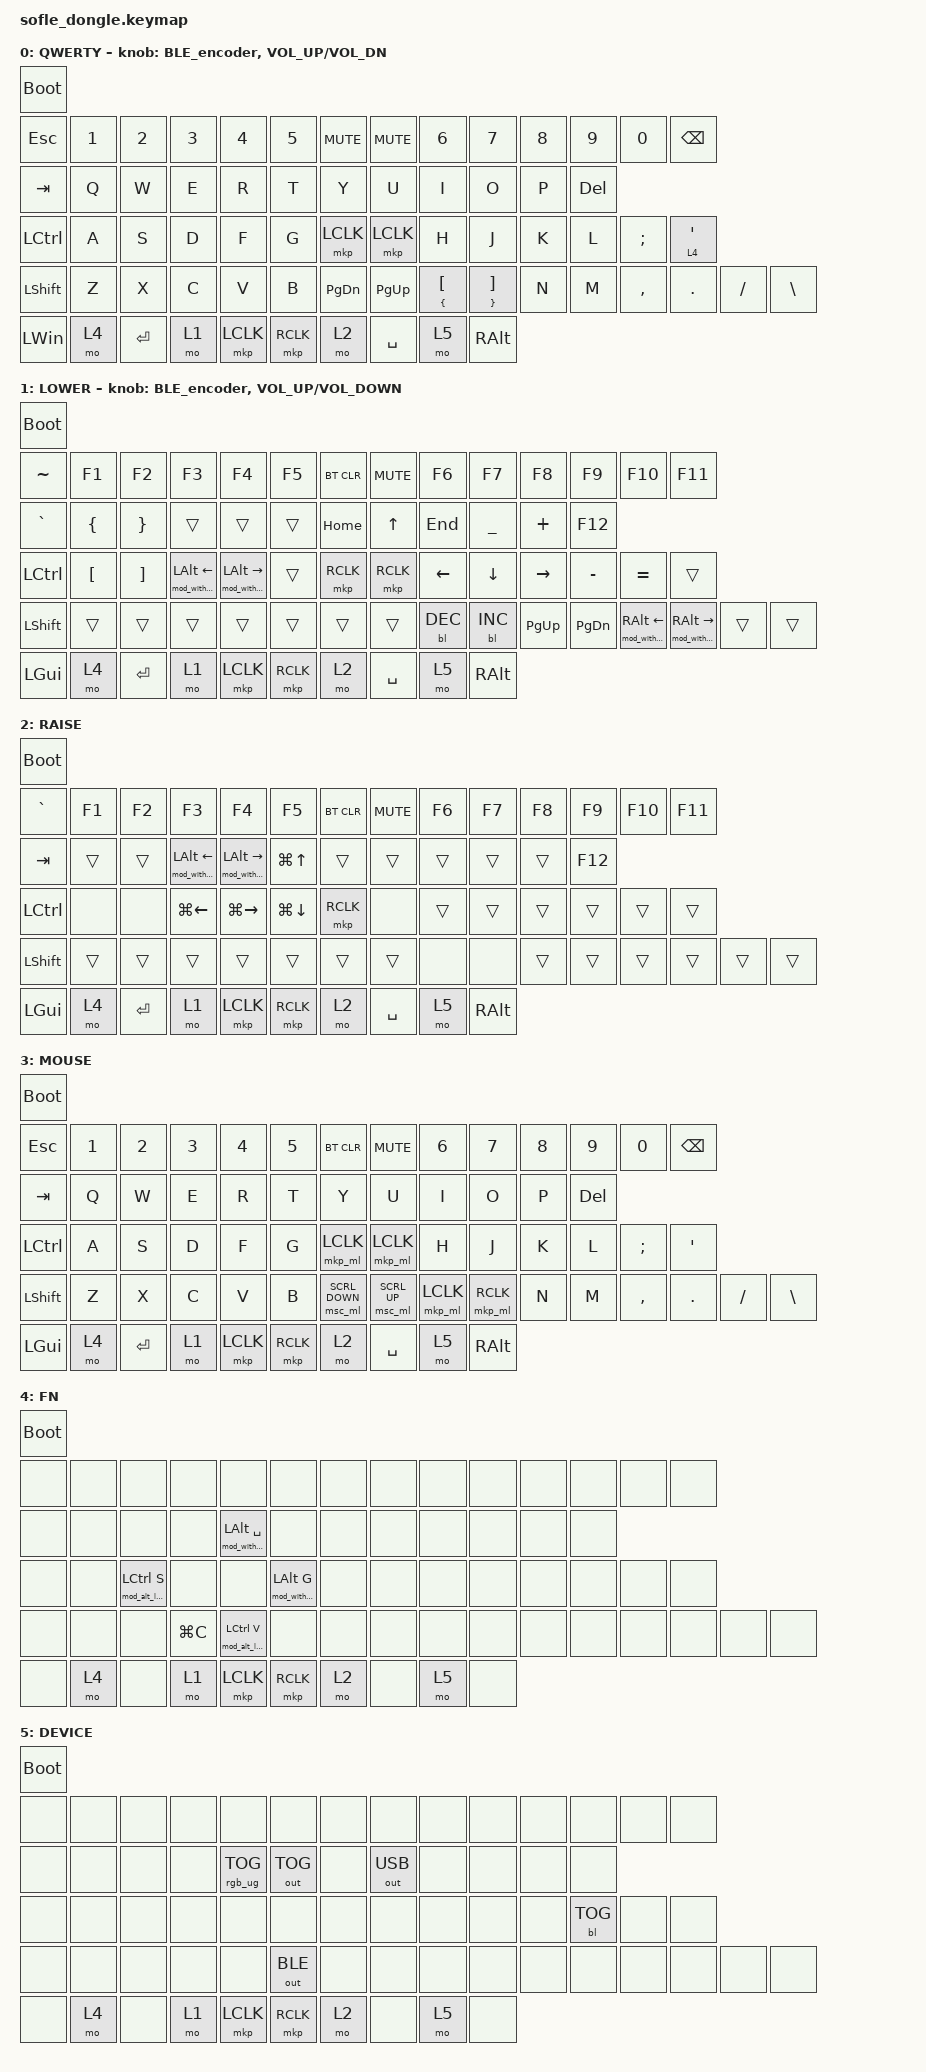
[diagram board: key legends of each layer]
/*
 * Copyright (c) 2025 ZitaoTech
 *
 * SPDX-License-Identifier: MIT
 */

#include <dt-bindings/zmk/behaviors.h>
#include <zephyr/dt-bindings/input/input-event-codes.h>
#include <dt-bindings/zmk/mouse.h>
#include <behaviors.dtsi>
#include <dt-bindings/zmk/backlight.h>
#include <dt-bindings/zmk/bt.h>
#include <dt-bindings/zmk/keys.h>
#include <dt-bindings/zmk/outputs.h>
#include <dt-bindings/zmk/pointing.h>
#include <dt-bindings/zmk/rgb.h>

#define FUNC 1
#define RES 2
#define BOT bootloader

/ {
    input_processors {
        zip_temp_layer: zip_temp_layer {
            compatible = "zmk,input-processor-temp-layer";
            #input-processor-cells = <2>;
        };

        trackpad_mode: trackpad_mode {
            compatible = "zmk,input-processor-trackpad-mode";
            #input-processor-cells = <0>;
        };

        trackpad_scroll_scaler: trackpad_scroll_scaler {
            compatible = "zmk,input-processor-scaler";
            #input-processor-cells = <2>;
            type = <INPUT_EV_REL>;
            codes = <INPUT_REL_WHEEL INPUT_REL_HWHEEL>;
            track-remainders;
        };

        ip_behaviors0: ip_behaviors0 {
            compatible = "zmk,input-processor-behaviors";
            #input-processor-cells = <0>;
            type = <INPUT_EV_KEY>;
            codes = <INPUT_BTN_0>;
            bindings = <&kp RIGHT>;
        };

        ip_behaviors1: ip_behaviors1 {
            compatible = "zmk,input-processor-behaviors";
            #input-processor-cells = <0>;
            type = <INPUT_EV_KEY>;
            codes = <INPUT_BTN_1>;
            bindings = <&kp LEFT>;
        };

        ip_behaviors2: ip_behaviors2 {
            compatible = "zmk,input-processor-behaviors";
            #input-processor-cells = <0>;
            type = <INPUT_EV_KEY>;
            codes = <INPUT_BTN_2>;
            bindings = <&kp DOWN>;
        };

        ip_behaviors3: ip_behaviors3 {
            compatible = "zmk,input-processor-behaviors";
            #input-processor-cells = <0>;
            type = <INPUT_EV_KEY>;
            codes = <INPUT_BTN_3>;
            bindings = <&kp UP>;
        };
    };
};

/ {
    behaviors {
        mkp_ml: mouse_key_press_ml {
            compatible = "zmk,behavior-mouse-key-press";
            #binding-cells = <1>;
            display-name = "Mouse Key Press (Mouse Layer)";
        };

        msc_ml: mouse_scroll_ml {
            compatible = "zmk,behavior-input-two-axis";
            #binding-cells = <1>;
            display-name = "Mouse Scroll (Mouse Layer)";
            x-input-code = <INPUT_REL_HWHEEL>;
            y-input-code = <INPUT_REL_WHEEL>;
            time-to-max-speed-ms = <300>;
            acceleration-exponent = <0>;
        };
    };

    mkp_ml_listener: mkp_ml_listener {
        compatible = "zmk,input-listener";
        device = <&mkp_ml>;
        input-processors = <&zip_temp_layer 3 600>;
    };

    msc_ml_listener: msc_ml_listener {
        compatible = "zmk,input-listener";
        device = <&msc_ml>;
        input-processors = <&zip_temp_layer 3 600>;
    };
};

/ {
    behaviors {
        td0: tap_dance_0 {
            compatible = "zmk,behavior-tap-dance";
            #binding-cells = <0>;
            tapping-term-ms = <400>;
            bindings = <&mkp LCLK>, <&bt BT_CLR>;
        };
    };

    behaviors {
        hm: homerow_mods {
            compatible = "zmk,behavior-hold-tap";
            #binding-cells = <2>;
            tapping-term-ms = <500>;
            bindings = <&kp &kp>;
        };
    };

    behaviors {
        sp_sc: behavior_spacescroll {
            compatible = "zmk,behavior-hold-tap";
            #binding-cells = <2>;
            flavor = "tap-preferred";     /* 单击优先 */
            tapping-term-ms = <200>;       /* 长按阈值 */
            bindings = <&none &kp>;        /* hold=none, tap=space */
        };
    };

    behaviors {
        BLE_encoder: BLE_encoder {
            compatible = "zmk,behavior-sensor-rotate";
            #sensor-binding-cells = <0>;
            bindings = <&bt BT_NXT>, <&bt BT_PRV>;
        };
    };

    macros {
        mod_with_latency: mod_with_latency {
            compatible = "zmk,behavior-macro-two-param";
            #binding-cells = <2>;
            wait-ms = <70>;
            tap-ms = <70>;
            label = "MOD_WITH_LATENCY";
            bindings =
                <&macro_param_1to1>,
                <&macro_press>,
                <&kp MACRO_PLACEHOLDER &macro_param_2to1>,
                <&macro_tap>,
                <&kp MACRO_PLACEHOLDER &macro_param_1to1>,
                <&macro_release>,
                <&kp MACRO_PLACEHOLDER>;
        };

        mod_alt_latency: mod_alt_latency {
            compatible = "zmk,behavior-macro-two-param";
            #binding-cells = <2>;
            wait-ms = <50>;
            tap-ms = <50>;
            label = "MOD_WITH_LATENCY";
            bindings =
                <&macro_param_1to1>,
                <&macro_press>,
                <&kp MACRO_PLACEHOLDER>,
                <&macro_press>,
                <&kp LEFT_ALT &macro_param_2to1>,
                <&macro_tap>,
                <&kp MACRO_PLACEHOLDER>,
                <&macro_release>,
                <&kp LEFT_ALT &macro_param_1to1>,
                <&macro_release>,
                <&kp MACRO_PLACEHOLDER>;
        };
    };

    keymap {
        compatible = "zmk,keymap";

        default_layer {
            display-name = "QWERTY";
            bindings = <
&bootloader
&kp ESC           &kp N1  &kp N2     &kp N3  &kp N4     &kp N5     &kp C_MUTE  &kp C_MUTE  &kp N6         &kp N7         &kp N8  &kp N9      &kp N0     &kp BSPC
&kp TAB           &kp Q   &kp W      &kp E   &kp R      &kp T      &kp Y       &kp U       &kp I          &kp O          &kp P   &kp DELETE
&kp LEFT_CONTROL  &kp A   &kp S      &kp D   &kp F      &kp G      &mkp LCLK   &mkp LCLK   &kp H          &kp J          &kp K   &kp L       &kp SEMI   &lt 4 SINGLE_QUOTE
&kp LSHFT         &kp Z   &kp X      &kp C   &kp V      &kp B      &kp PG_DN   &kp PG_UP   &mt LBRC LBKT  &mt RBRC RBKT  &kp N   &kp M       &kp COMMA  &kp DOT             &kp FSLH  &kp BACKSLASH
&kp LEFT_WIN      &mo 4   &kp ENTER  &mo 1   &mkp LCLK  &mkp RCLK  &mo 2       &kp SPACE   &mo 5          &kp RIGHT_ALT
            >;

            sensor-bindings = <&BLE_encoder>, <&inc_dec_kp C_VOL_UP C_VOL_DN>;
        };

        lower_layer {
            display-name = "LOWER";
            bindings = <
&bootloader
&kp TILDE         &kp F1            &kp F2             &kp F3                           &kp F4                            &kp F5     &bt BT_CLR  &kp C_MUTE  &kp F6      &kp F7         &kp F8       &kp F9         &kp F10                           &kp F11
&kp GRAVE         &kp LEFT_BRACE    &kp RIGHT_BRACE    &trans                           &trans                            &trans     &kp HOME    &kp UP      &kp END     &kp UNDER      &kp PLUS     &kp F12
&kp LEFT_CONTROL  &kp LEFT_BRACKET  &kp RIGHT_BRACKET  &mod_with_latency LEFT_ALT LEFT  &mod_with_latency LEFT_ALT RIGHT  &trans     &mkp RCLK   &mkp RCLK   &kp LEFT    &kp DOWN       &kp RIGHT    &kp MINUS      &kp EQUAL                         &trans
&kp LSHFT         &trans            &trans             &trans                           &trans                            &trans     &trans      &trans      &bl BL_DEC  &bl BL_INC     &kp PAGE_UP  &kp PAGE_DOWN  &mod_with_latency RIGHT_ALT LEFT  &mod_with_latency RIGHT_ALT RIGHT  &trans  &trans
&kp LEFT_GUI      &mo 4             &kp ENTER          &mo 1                            &mkp LCLK                         &mkp RCLK  &mo 2       &kp SPACE   &mo 5       &kp RIGHT_ALT
            >;

            sensor-bindings =
                <&BLE_encoder>,
                <&inc_dec_kp C_VOLUME_UP C_VOLUME_DOWN>;
        };

        raise_layer {
            display-name = "RAISE";
            bindings = <
&bootloader
&kp GRAVE         &kp F1  &kp F2     &kp F3                           &kp F4                            &kp F5        &bt BT_CLR  &kp C_MUTE  &kp F6  &kp F7         &kp F8  &kp F9   &kp F10  &kp F11
&kp TAB           &trans  &trans     &mod_with_latency LEFT_ALT LEFT  &mod_with_latency LEFT_ALT RIGHT  &kp LG(UP)    &trans      &trans      &trans  &trans         &trans  &kp F12
&kp LEFT_CONTROL  &none   &none      &kp LG(LEFT)                     &kp LG(RIGHT)                     &kp LG(DOWN)  &mkp RCLK   &none       &trans  &trans         &trans  &trans   &trans   &trans
&kp LSHFT         &trans  &trans     &trans                           &trans                            &trans        &trans      &trans      &none   &none          &trans  &trans   &trans   &trans   &trans  &trans
&kp LEFT_GUI      &mo 4   &kp ENTER  &mo 1                            &mkp LCLK                         &mkp RCLK     &mo 2       &kp SPACE   &mo 5   &kp RIGHT_ALT
            >;
        };

        mouse_layer {
            display-name = "MOUSE";
            bindings = <
&bootloader
&kp ESC           &kp N1  &kp N2     &kp N3  &kp N4     &kp N5     &bt BT_CLR         &kp C_MUTE       &kp N6        &kp N7         &kp N8  &kp N9   &kp N0     &kp BSPC
&kp TAB           &kp Q   &kp W      &kp E   &kp R      &kp T      &kp Y              &kp U            &kp I         &kp O          &kp P   &kp DEL
&kp LEFT_CONTROL  &kp A   &kp S      &kp D   &kp F      &kp G      &mkp_ml LCLK       &mkp_ml LCLK     &kp H         &kp J          &kp K   &kp L    &kp SEMI   &kp SINGLE_QUOTE
&kp LEFT_SHIFT    &kp Z   &kp X      &kp C   &kp V      &kp B      &msc_ml SCRL_DOWN  &msc_ml SCRL_UP  &mkp_ml LCLK  &mkp_ml RCLK   &kp N   &kp M    &kp COMMA  &kp PERIOD        &kp SLASH  &kp BACKSLASH
&kp LEFT_GUI      &mo 4   &kp ENTER  &mo 1   &mkp LCLK  &mkp RCLK  &mo 2              &kp SPACE        &mo 5         &kp RIGHT_ALT
            >;
        };

        fn_layer {
            display-name = "FN";
            bindings = <
&bootloader
&none        &none  &none                            &none      &none                             &none                     &none  &none  &none  &none  &none  &none  &none  &none
&none        &none  &none                            &none      &mod_with_latency LEFT_ALT SPACE  &none                     &none  &none  &none  &none  &none  &none
&none        &none  &mod_alt_latency LEFT_CONTROL S  &none      &none                             &mod_with_latency LALT G  &none  &none  &none  &none  &none  &none  &none  &none
&none        &none  &none                            &kp LG(C)  &mod_alt_latency LEFT_CONTROL V   &none                     &none  &none  &none  &none  &none  &none  &none  &none  &none  &none
&none        &mo 4  &none                            &mo 1      &mkp LCLK                         &mkp RCLK                 &mo 2  &none  &mo 5  &none
            >;
        };

        device_layer {
            display-name = "DEVICE";
            bindings = <
&bootloader
&none        &none  &none  &none  &none            &none         &none  &none         &none  &none  &none  &none       &none  &none
&none        &none  &none  &none  &rgb_ug RGB_TOG  &out OUT_TOG  &none  &out OUT_USB  &none  &none  &none  &none
&none        &none  &none  &none  &none            &none         &none  &none         &none  &none  &none  &bl BL_TOG  &none  &none
&none        &none  &none  &none  &none            &out OUT_BLE  &none  &none         &none  &none  &none  &none       &none  &none  &none  &none
&none        &mo 4  &none  &mo 1  &mkp LCLK        &mkp RCLK     &mo 2  &none         &mo 5  &none
            >;
        };
    };
};
